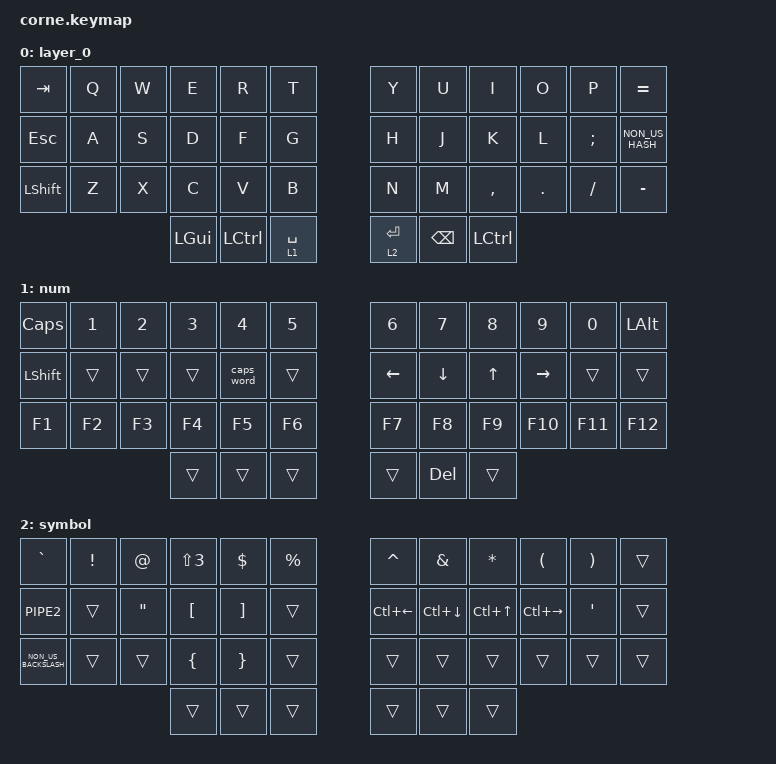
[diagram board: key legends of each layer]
#include <behaviors.dtsi>
#include <dt-bindings/zmk/keys.h>

/ {
    keymap {
        compatible = "zmk,keymap";

        layer_0 {
            bindings = <
&kp TAB         &kp Q  &kp W  &kp E     &kp R      &kp T          &kp Y        &kp U          &kp I      &kp O    &kp P          &kp EQUAL
&kp ESC         &kp A  &kp S  &kp D     &kp F      &kp G          &kp H        &kp J          &kp K      &kp L    &kp SEMICOLON  &kp NON_US_HASH
&kp LEFT_SHIFT  &kp Z  &kp X  &kp C     &kp V      &kp B          &kp N        &kp M          &kp COMMA  &kp DOT  &kp FSLH       &kp MINUS
                              &kp LGUI  &kp LCTRL  &lt 1 SPACE    &lt 2 ENTER  &kp BACKSPACE  &kp LCTRL
            >;
        };

        num {
            bindings = <
&kp CAPS        &kp N1  &kp N2  &kp N3  &kp N4      &kp N5    &kp N6    &kp N7      &kp N8        &kp N9     &kp N0   &kp LEFT_ALT
&kp LEFT_SHIFT  &trans  &trans  &trans  &caps_word  &trans    &kp LEFT  &kp DOWN    &kp UP_ARROW  &kp RIGHT  &trans   &trans
&kp F1          &kp F2  &kp F3  &kp F4  &kp F5      &kp F6    &kp F7    &kp F8      &kp F9        &kp F10    &kp F11  &kp F12
                                &trans  &trans      &trans    &trans    &kp DELETE  &trans
            >;
        };

        symbol {
            bindings = <
&kp GRAVE             &kp EXCLAMATION  &kp AT             &kp LS(NUMBER_3)  &kp DOLLAR       &kp PERCENT    &kp CARET     &kp AMPERSAND  &kp ASTERISK  &kp LEFT_PARENTHESIS  &kp RIGHT_PARENTHESIS  &trans
&kp PIPE2             &trans           &kp DOUBLE_QUOTES  &kp LBKT          &kp RBKT         &trans         &kp LC(LEFT)  &kp LC(DOWN)   &kp LC(UP)    &kp LC(RIGHT)         &kp APOSTROPHE         &trans
&kp NON_US_BACKSLASH  &trans           &trans             &kp LEFT_BRACE    &kp RIGHT_BRACE  &trans         &trans        &trans         &trans        &trans                &trans                 &trans
                                                          &trans            &trans           &trans         &trans        &trans         &trans
            >;
        };
    };
};
